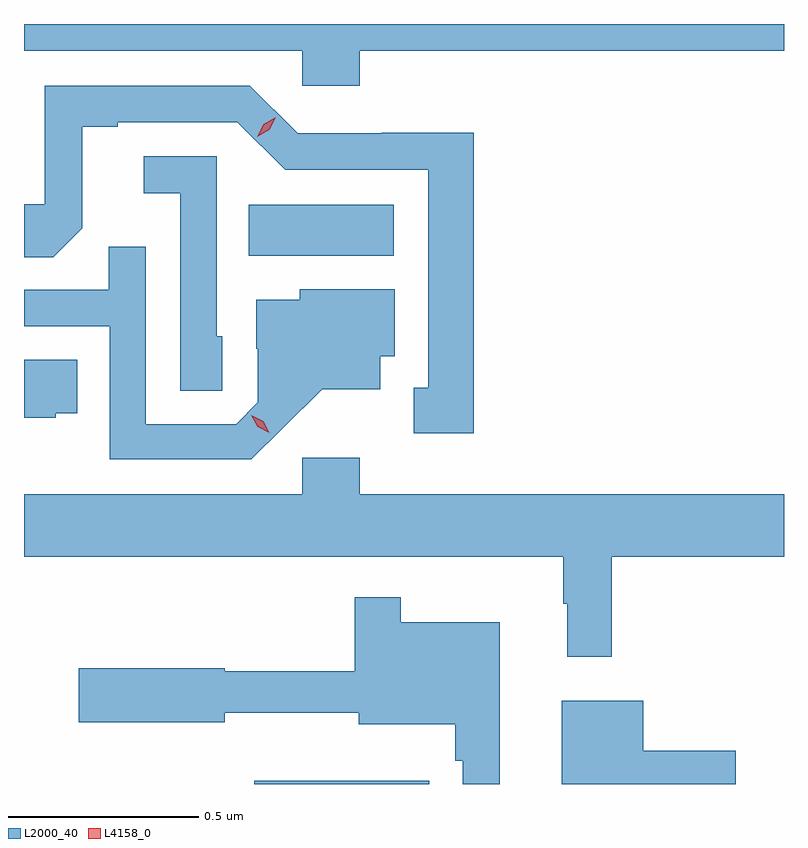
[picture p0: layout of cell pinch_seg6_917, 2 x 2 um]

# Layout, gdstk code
import gdstk
lib = gdstk.Library(unit=1e-6, precision=1e-09)
def R(c, l, rs):  # rectangles x0, y0, x1, y1
    for r in rs: c.add(gdstk.rectangle(r[:2], r[2:], *l))
def P(c, l, *ps):  # polygons
    for p in ps: c.add(gdstk.Polygon(p, *l))
L2000_40 = (2000, 40)
L4158_0 = (4158, 0)

pinch_seg6_917 = lib.new_cell('pinch_seg6_917')
R(pinch_seg6_917, L2000_40, [(162.69,921.43,163.15,921.439), (162.676,922.82,163.057,922.954)])
P(pinch_seg6_917, L2000_40, [(162.084,923.36),(162.816,923.36),(162.816,923.267),(162.968,923.267),(162.968,923.36),(164.084,923.36),(164.084,923.43),(162.084,923.43)],
  [(163.267,923.144),(163.026,923.144),(163.026,923.142),(162.804,923.142),(162.678,923.268),(162.138,923.268),(162.138,922.956),(162.084,922.956),(162.084,922.816),(162.161,922.816),(162.237,922.892),(162.237,923.16),(162.331,923.16),(162.331,923.172),(162.645,923.172),(162.771,923.046),(163.148,923.046),(163.148,922.473),(163.109,922.473),(163.109,922.353),(163.267,922.353)],
  [(162.606,922.608),(162.591,922.608),(162.591,923.082),(162.399,923.082),(162.399,922.985),(162.495,922.985),(162.495,922.465),(162.606,922.465)],
  [(162.766,922.367),(162.869,922.469),(163.021,922.469),(163.021,922.556),(163.06,922.556),(163.06,922.732),(162.81,922.732),(162.81,922.705),(162.695,922.705),(162.695,922.576),(162.699,922.576),(162.699,922.434),(162.642,922.377),(162.405,922.377),(162.405,922.844),(162.307,922.844),(162.307,922.731),(162.084,922.731),(162.084,922.635),(162.309,922.635),(162.309,922.284),(162.682,922.284)],
  [(162.168,922.406),(162.224,922.406),(162.224,922.546),(162.084,922.546),(162.084,922.394),(162.168,922.394)],
  [(163.631,922.028),(164.084,922.028),(164.084,922.192),(162.968,922.192),(162.968,922.288),(162.816,922.288),(162.816,922.192),(162.084,922.192),(162.084,922.028),(163.503,922.028),(163.503,921.905),(163.514,921.905),(163.514,921.765),(163.631,921.765)],
  [(163.336,921.856),(163.075,921.856),(163.075,921.922),(162.954,921.922),(162.954,921.727),(162.612,921.727),(162.612,921.735),(162.228,921.735),(162.228,921.593),(162.612,921.593),(162.612,921.617),(162.965,921.617),(162.965,921.587),(163.219,921.587),(163.219,921.491),(163.239,921.491),(163.239,921.43),(163.336,921.43)],
  [(163.957,921.518),(163.714,921.518),(163.714,921.649),(163.499,921.649),(163.499,921.43),(163.957,921.43)])
P(pinch_seg6_917, L4158_0, [(162.698,923.133),(162.698,923.133),(162.715,923.166),(162.746,923.185),(162.746,923.185),(162.746,923.185),(162.729,923.152),(162.698,923.133)],
  [(162.73,922.355),(162.699,922.37),(162.682,922.4),(162.682,922.4),(162.682,922.4),(162.713,922.385),(162.73,922.355),(162.73,922.355)])

lib.write_gds('pinch_seg6_917.gds')
